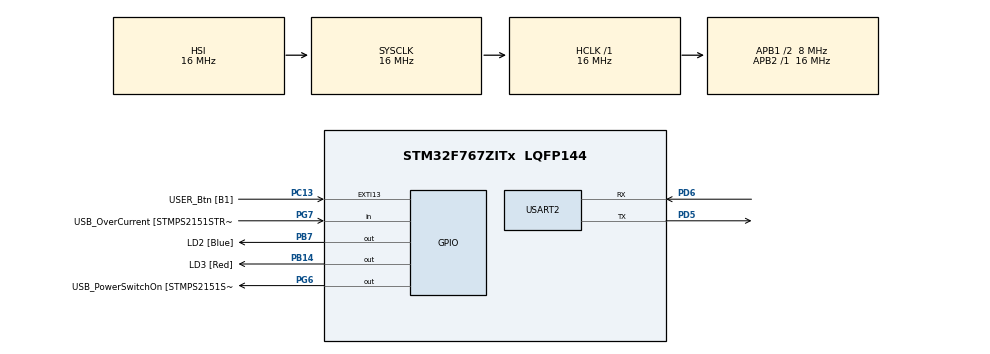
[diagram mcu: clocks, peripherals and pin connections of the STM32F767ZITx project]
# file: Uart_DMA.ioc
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Dma.Request0=USART2_RX
Dma.USART2_RX.0.Direction=DMA_PERIPH_TO_MEMORY
Dma.USART2_RX.0.FIFOMode=DMA_FIFOMODE_DISABLE
Dma.USART2_RX.0.Instance=DMA1_Stream5
Dma.USART2_RX.0.MemDataAlignment=DMA_MDATAALIGN_BYTE
Dma.USART2_RX.0.MemInc=DMA_MINC_ENABLE
Dma.USART2_RX.0.Mode=DMA_NORMAL
Dma.USART2_RX.0.PeriphDataAlignment=DMA_PDATAALIGN_BYTE
Dma.USART2_RX.0.PeriphInc=DMA_PINC_DISABLE
Dma.USART2_RX.0.Priority=DMA_PRIORITY_LOW
Mcu.Family=STM32F7
Mcu.Name=STM32F767ZITx
Mcu.Package=LQFP144
NVIC.DMA1_Stream5_IRQn=true\:0\:0\:false\:false\:true\:false\:true
NVIC.PriorityGroup=NVIC_PRIORITYGROUP_4
PA1.GPIO_Label=RMII_REF_CLK [LAN8742A-CZ-TR_REFCLK0]
PA1.Signal=ETH_REF_CLK
PA10.GPIO_Label=USB_ID
PA10.Signal=USB_OTG_FS_ID
PA11.GPIO_Label=USB_DM
PA11.Signal=USB_OTG_FS_DM
PA12.GPIO_Label=USB_DP
PA12.Signal=USB_OTG_FS_DP
PA13.GPIO_Label=TMS
PA13.Mode=Serial_Wire
PA13.Signal=SYS_JTMS-SWDIO
PA14.GPIO_Label=TCK
PA14.Mode=Serial_Wire
PA14.Signal=SYS_JTCK-SWCLK
PA2.GPIO_Label=RMII_MDIO [LAN8742A-CZ-TR_MDIO]
PA2.Signal=ETH_MDIO
PA7.GPIO_Label=RMII_CRS_DV [LAN8742A-CZ-TR_CRS_DV]
PA7.Signal=ETH_CRS_DV
PA8.GPIO_Label=USB_SOF [TP1]
PA8.Signal=USB_OTG_FS_SOF
PA9.GPIO_Label=USB_VBUS
PA9.Signal=USB_OTG_FS_VBUS
PB13.GPIO_Label=RMII_TXD1 [LAN8742A-CZ-TR_TXD1]
PB13.Signal=ETH_TXD1
PB14.GPIO_Label=LD3 [Red]
PB14.Signal=GPIO_Output
PB3.GPIO_Label=SW0
PB3.Signal=SYS_JTDO-SWO
PB7.GPIO_Label=LD2 [Blue]
PB7.Signal=GPIO_Output
PC1.GPIO_Label=RMII_MDC [LAN8742A-CZ-TR_MDC]
PC1.Signal=ETH_MDC
PC13.GPIO_Label=USER_Btn [B1]
PC13.Signal=GPXTI13
PC14/OSC32_IN.Signal=RCC_OSC32_IN
PC15/OSC32_OUT.Signal=RCC_OSC32_OUT
PC4.GPIO_Label=RMII_RXD0 [LAN8742A-CZ-TR_RXD0]
PC4.Signal=ETH_RXD0
PC5.GPIO_Label=RMII_RXD1 [LAN8742A-CZ-TR_RXD1]
PC5.Signal=ETH_RXD1
PD5.Mode=Asynchronous
PD5.Signal=USART2_TX
PD6.Mode=Asynchronous
PD6.Signal=USART2_RX
PD8.GPIO_Label=STLK_RX [STM32F103CBT6_PA3]
PD8.Signal=USART3_TX
PD9.GPIO_Label=STLK_TX [STM32F103CBT6_PA2]
PD9.Signal=USART3_RX
PG11.GPIO_Label=RMII_TX_EN [LAN8742A-CZ-TR_TXEN]
PG11.Signal=ETH_TX_EN
PG13.GPIO_Label=RMII_TXD0 [LAN8742A-CZ-TR_TXD0]
PG13.Signal=ETH_TXD0
PG6.GPIO_Label=USB_PowerSwitchOn [STMPS2151STR_EN]
PG6.Signal=GPIO_Output
PG7.GPIO_Label=USB_OverCurrent [STMPS2151STR_FAULT]
PG7.Signal=GPIO_Input
PH0/OSC_IN.GPIO_Label=MCO [STM32F103CBT6_PA8]
PH0/OSC_IN.Mode=HSE-External-Oscillator
PH0/OSC_IN.Signal=RCC_OSC_IN
PH1/OSC_OUT.Mode=HSE-External-Oscillator
PH1/OSC_OUT.Signal=RCC_OSC_OUT
ProjectManager.HeapSize=0x200
ProjectManager.StackSize=0x400
ProjectManager.TargetToolchain=MDK-ARM V5
RCC.48MHZClocksFreq_Value=24000000
RCC.AHBFreq_Value=16000000
RCC.APB1CLKDivider=RCC_HCLK_DIV2
RCC.APB1Freq_Value=8000000
RCC.APB1TimFreq_Value=16000000
RCC.APB2Freq_Value=16000000
RCC.APB2TimFreq_Value=16000000
RCC.CortexFreq_Value=16000000
RCC.HCLKFreq_Value=16000000
RCC.HSE_VALUE=16000000
RCC.HSI_VALUE=16000000
RCC.LSE_VALUE=32768
RCC.PLLMUL=RCC_PLL_MUL9
RCC.PRESCALERUSB=RCC_USBCLKSOURCE_PLL_DIV1_5
RCC.SYSCLKFreq_VALUE=16000000
RCC.SYSCLKSourceVirtual=RCC_SYSCLKSOURCE_PLLCLK
RCC.USBFreq_Value=96000000
RCC.VCOOutputFreq_Value=192000000
USART2.VirtualMode-Asynchronous=VM_ASYNC
board=NUCLEO-F767ZI

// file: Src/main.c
/* USER CODE BEGIN Header */
/**
  ******************************************************************************
  * @file           : main.c
  * @brief          : Main program body
  ******************************************************************************
  * @attention
  *
  * <h2><center>&copy; Copyright (c) 2019 STMicroelectronics.
  * All rights reserved.</center></h2>
  *
  * This software component is licensed by ST under BSD 3-Clause license,
  * the "License"; You may not use this file except in compliance with the
  * License. You may obtain a copy of the License at:
  *                        opensource.org/licenses/BSD-3-Clause
  *
  ******************************************************************************
  */
/* USER CODE END Header */

#include "main.h"

/* USER CODE BEGIN Includes */
#include "string.h"
#include "stdio.h"
/* USER CODE END Includes */

UART_HandleTypeDef huart2;
DMA_HandleTypeDef hdma_usart2_rx;

void SystemClock_Config(void);
static void MX_GPIO_Init(void);
static void MX_DMA_Init(void);
static void MX_USART2_UART_Init(void);

/* USER CODE BEGIN 0 */
char veri[5];
char buffer_tx[7];

void HAL_UART_RxCpltCallback(UART_HandleTypeDef *huart)
{
	if(strcmp(veri, "led:1") == 0)
	{
		HAL_GPIO_WritePin(LD3_GPIO_Port, LD3_Pin,GPIO_PIN_SET);
	}
	else if(strcmp(veri, "led:0") == 0)
	{
		HAL_GPIO_WritePin(LD3_GPIO_Port, LD3_Pin,GPIO_PIN_RESET);
	}
	HAL_UART_Receive_DMA(&huart2, (uint8_t*)veri, sizeof(veri));
}
/* USER CODE END 0 */

int main(void)
{

  /* MCU Configuration--------------------------------------------------------*/

  /* Reset of all peripherals, Initializes the Flash interface and the Systick. */
  HAL_Init();

  /* Configure the system clock */
  SystemClock_Config();

  /* Initialize all configured peripherals */
  MX_GPIO_Init();
  MX_DMA_Init();
  MX_USART2_UART_Init();
  /* USER CODE BEGIN 2 */
	HAL_UART_Receive_DMA(&huart2, (uint8_t*)veri, sizeof(veri));
  /* USER CODE END 2 */

  /* Infinite loop */
  while (1)
  {

    /* USER CODE BEGIN 3 */
		HAL_UART_Transmit(&huart2, "led:1\n", 6, 100);
		HAL_Delay(500);
		HAL_UART_Transmit(&huart2, "led:0\n", 6, 100);
		HAL_Delay(500);
  }
  /* USER CODE END 3 */
}

void SystemClock_Config(void)
{
  RCC_OscInitTypeDef RCC_OscInitStruct = {0};
  RCC_ClkInitTypeDef RCC_ClkInitStruct = {0};
  RCC_PeriphCLKInitTypeDef PeriphClkInitStruct = {0};

  /** Configure the main internal regulator output voltage
  */
  __HAL_RCC_PWR_CLK_ENABLE();
  __HAL_PWR_VOLTAGESCALING_CONFIG(PWR_REGULATOR_VOLTAGE_SCALE3);
  /** Initializes the CPU, AHB and APB busses clocks
  */
  RCC_OscInitStruct.OscillatorType = RCC_OSCILLATORTYPE_HSI;
  RCC_OscInitStruct.HSIState = RCC_HSI_ON;
  RCC_OscInitStruct.HSICalibrationValue = RCC_HSICALIBRATION_DEFAULT;
  RCC_OscInitStruct.PLL.PLLState = RCC_PLL_NONE;
  if (HAL_RCC_OscConfig(&RCC_OscInitStruct) != HAL_OK)
  {
    Error_Handler();
  }
  /** Initializes the CPU, AHB and APB busses clocks
  */
  RCC_ClkInitStruct.ClockType = RCC_CLOCKTYPE_HCLK|RCC_CLOCKTYPE_SYSCLK
                              |RCC_CLOCKTYPE_PCLK1|RCC_CLOCKTYPE_PCLK2;
  RCC_ClkInitStruct.SYSCLKSource = RCC_SYSCLKSOURCE_HSI;
  RCC_ClkInitStruct.AHBCLKDivider = RCC_SYSCLK_DIV1;
  RCC_ClkInitStruct.APB1CLKDivider = RCC_HCLK_DIV2;
  RCC_ClkInitStruct.APB2CLKDivider = RCC_HCLK_DIV1;

  if (HAL_RCC_ClockConfig(&RCC_ClkInitStruct, FLASH_LATENCY_0) != HAL_OK)
  {
    Error_Handler();
  }
  PeriphClkInitStruct.PeriphClockSelection = RCC_PERIPHCLK_USART2;
  PeriphClkInitStruct.Usart2ClockSelection = RCC_USART2CLKSOURCE_PCLK1;
  if (HAL_RCCEx_PeriphCLKConfig(&PeriphClkInitStruct) != HAL_OK)
  {
    Error_Handler();
  }
}

static void MX_USART2_UART_Init(void)
{

  huart2.Instance = USART2;
  huart2.Init.BaudRate = 115200;
  huart2.Init.WordLength = UART_WORDLENGTH_8B;
  huart2.Init.StopBits = UART_STOPBITS_1;
  huart2.Init.Parity = UART_PARITY_NONE;
  huart2.Init.Mode = UART_MODE_TX_RX;
  huart2.Init.HwFlowCtl = UART_HWCONTROL_NONE;
  huart2.Init.OverSampling = UART_OVERSAMPLING_16;
  huart2.Init.OneBitSampling = UART_ONE_BIT_SAMPLE_DISABLE;
  huart2.AdvancedInit.AdvFeatureInit = UART_ADVFEATURE_NO_INIT;
  if (HAL_UART_Init(&huart2) != HAL_OK)
  {
    Error_Handler();
  }

}

static void MX_DMA_Init(void)
{

  /* DMA controller clock enable */
  __HAL_RCC_DMA1_CLK_ENABLE();

  /* DMA interrupt init */
  /* DMA1_Stream5_IRQn interrupt configuration */
  HAL_NVIC_SetPriority(DMA1_Stream5_IRQn, 0, 0);
  HAL_NVIC_EnableIRQ(DMA1_Stream5_IRQn);

}

static void MX_GPIO_Init(void)
{
  GPIO_InitTypeDef GPIO_InitStruct = {0};

  /* GPIO Ports Clock Enable */
  __HAL_RCC_GPIOC_CLK_ENABLE();
  __HAL_RCC_GPIOH_CLK_ENABLE();
  __HAL_RCC_GPIOA_CLK_ENABLE();
  __HAL_RCC_GPIOB_CLK_ENABLE();
  __HAL_RCC_GPIOD_CLK_ENABLE();
  __HAL_RCC_GPIOG_CLK_ENABLE();

  /*Configure GPIO pin Output Level */
  HAL_GPIO_WritePin(GPIOB, LD3_Pin|LD2_Pin, GPIO_PIN_RESET);

  /*Configure GPIO pin Output Level */
  HAL_GPIO_WritePin(USB_PowerSwitchOn_GPIO_Port, USB_PowerSwitchOn_Pin, GPIO_PIN_RESET);

  /*Configure GPIO pin : USER_Btn_Pin */
  GPIO_InitStruct.Pin = USER_Btn_Pin;
  GPIO_InitStruct.Mode = GPIO_MODE_IT_RISING;
  GPIO_InitStruct.Pull = GPIO_NOPULL;
  HAL_GPIO_Init(USER_Btn_GPIO_Port, &GPIO_InitStruct);

  /*Configure GPIO pins : RMII_MDC_Pin RMII_RXD0_Pin RMII_RXD1_Pin */
  GPIO_InitStruct.Pin = RMII_MDC_Pin|RMII_RXD0_Pin|RMII_RXD1_Pin;
  GPIO_InitStruct.Mode = GPIO_MODE_AF_PP;
  GPIO_InitStruct.Pull = GPIO_NOPULL;
  GPIO_InitStruct.Speed = GPIO_SPEED_FREQ_VERY_HIGH;
  GPIO_InitStruct.Alternate = GPIO_AF11_ETH;
  HAL_GPIO_Init(GPIOC, &GPIO_InitStruct);

  /*Configure GPIO pins : RMII_REF_CLK_Pin RMII_MDIO_Pin RMII_CRS_DV_Pin */
  GPIO_InitStruct.Pin = RMII_REF_CLK_Pin|RMII_MDIO_Pin|RMII_CRS_DV_Pin;
  GPIO_InitStruct.Mode = GPIO_MODE_AF_PP;
  GPIO_InitStruct.Pull = GPIO_NOPULL;
  GPIO_InitStruct.Speed = GPIO_SPEED_FREQ_VERY_HIGH;
  GPIO_InitStruct.Alternate = GPIO_AF11_ETH;
  HAL_GPIO_Init(GPIOA, &GPIO_InitStruct);

  /*Configure GPIO pin : RMII_TXD1_Pin */
  GPIO_InitStruct.Pin = RMII_TXD1_Pin;
  GPIO_InitStruct.Mode = GPIO_MODE_AF_PP;
  GPIO_InitStruct.Pull = GPIO_NOPULL;
  GPIO_InitStruct.Speed = GPIO_SPEED_FREQ_VERY_HIGH;
  GPIO_InitStruct.Alternate = GPIO_AF11_ETH;
  HAL_GPIO_Init(RMII_TXD1_GPIO_Port, &GPIO_InitStruct);

  /*Configure GPIO pins : LD3_Pin LD2_Pin */
  GPIO_InitStruct.Pin = LD3_Pin|LD2_Pin;
  GPIO_InitStruct.Mode = GPIO_MODE_OUTPUT_PP;
  GPIO_InitStruct.Pull = GPIO_NOPULL;
  GPIO_InitStruct.Speed = GPIO_SPEED_FREQ_LOW;
  HAL_GPIO_Init(GPIOB, &GPIO_InitStruct);

  /*Configure GPIO pins : STLK_RX_Pin STLK_TX_Pin */
  GPIO_InitStruct.Pin = STLK_RX_Pin|STLK_TX_Pin;
  GPIO_InitStruct.Mode = GPIO_MODE_AF_PP;
  GPIO_InitStruct.Pull = GPIO_NOPULL;
  GPIO_InitStruct.Speed = GPIO_SPEED_FREQ_VERY_HIGH;
  GPIO_InitStruct.Alternate = GPIO_AF7_USART3;
  HAL_GPIO_Init(GPIOD, &GPIO_InitStruct);

  /*Configure GPIO pin : USB_PowerSwitchOn_Pin */
  GPIO_InitStruct.Pin = USB_PowerSwitchOn_Pin;
  GPIO_InitStruct.Mode = GPIO_MODE_OUTPUT_PP;
  GPIO_InitStruct.Pull = GPIO_NOPULL;
  GPIO_InitStruct.Speed = GPIO_SPEED_FREQ_LOW;
  HAL_GPIO_Init(USB_PowerSwitchOn_GPIO_Port, &GPIO_InitStruct);

  /*Configure GPIO pin : USB_OverCurrent_Pin */
  GPIO_InitStruct.Pin = USB_OverCurrent_Pin;
  GPIO_InitStruct.Mode = GPIO_MODE_INPUT;
  GPIO_InitStruct.Pull = GPIO_NOPULL;
  HAL_GPIO_Init(USB_OverCurrent_GPIO_Port, &GPIO_InitStruct);

  /*Configure GPIO pins : USB_SOF_Pin USB_ID_Pin USB_DM_Pin USB_DP_Pin */
  GPIO_InitStruct.Pin = USB_SOF_Pin|USB_ID_Pin|USB_DM_Pin|USB_DP_Pin;
  GPIO_InitStruct.Mode = GPIO_MODE_AF_PP;
  GPIO_InitStruct.Pull = GPIO_NOPULL;
  GPIO_InitStruct.Speed = GPIO_SPEED_FREQ_VERY_HIGH;
  GPIO_InitStruct.Alternate = GPIO_AF10_OTG_FS;
  HAL_GPIO_Init(GPIOA, &GPIO_InitStruct);

  /*Configure GPIO pin : USB_VBUS_Pin */
  GPIO_InitStruct.Pin = USB_VBUS_Pin;
  GPIO_InitStruct.Mode = GPIO_MODE_INPUT;
  GPIO_InitStruct.Pull = GPIO_NOPULL;
  HAL_GPIO_Init(USB_VBUS_GPIO_Port, &GPIO_InitStruct);

  /*Configure GPIO pins : RMII_TX_EN_Pin RMII_TXD0_Pin */
  GPIO_InitStruct.Pin = RMII_TX_EN_Pin|RMII_TXD0_Pin;
  GPIO_InitStruct.Mode = GPIO_MODE_AF_PP;
  GPIO_InitStruct.Pull = GPIO_NOPULL;
  GPIO_InitStruct.Speed = GPIO_SPEED_FREQ_VERY_HIGH;
  GPIO_InitStruct.Alternate = GPIO_AF11_ETH;
  HAL_GPIO_Init(GPIOG, &GPIO_InitStruct);

}

void Error_Handler(void)
{
}

/************************ (C) COPYRIGHT STMicroelectronics *****END OF FILE****/
